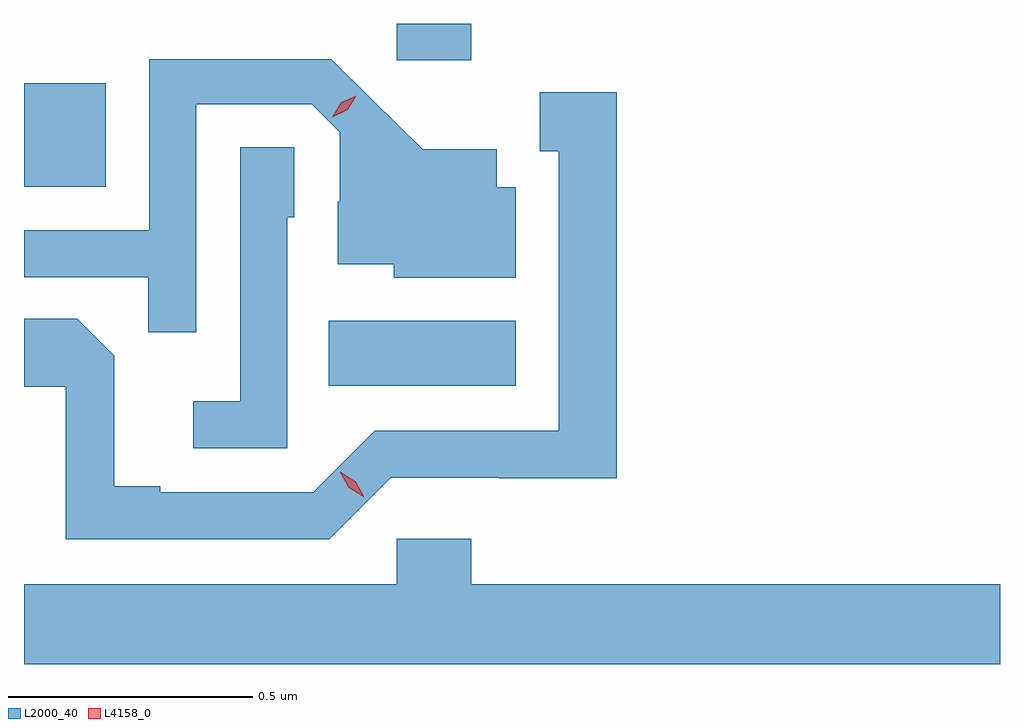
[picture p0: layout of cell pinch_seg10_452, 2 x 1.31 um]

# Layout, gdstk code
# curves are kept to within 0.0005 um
import gdstk
lib = gdstk.Library(unit=1e-6, precision=1e-09)
def R(c, l, rs):  # rectangles x0, y0, x1, y1
    for r in rs: c.add(gdstk.rectangle(r[:2], r[2:], *l))
def P(c, l, *ps):  # polygons
    for p in ps: c.add(gdstk.Polygon(p, *l))
L2000_40 = (2000, 40)
L4158_0 = (4158, 0)

pinch_seg10_452 = lib.new_cell('pinch_seg10_452')
R(pinch_seg10_452, L2000_40, [(366.028,1294.226,366.412,1294.36), (365.404,1294.634,365.572,1294.846), (366.168,1294.893,366.32,1294.968)])
P(pinch_seg10_452, L2000_40, [(365.757,1294.803),(365.994,1294.803),(366.051,1294.746),(366.051,1294.604),(366.047,1294.604),(366.047,1294.475),(366.162,1294.475),(366.162,1294.448),(366.412,1294.448),(366.412,1294.633),(366.373,1294.633),(366.373,1294.711),(366.221,1294.711),(366.034,1294.896),(365.661,1294.896),(365.661,1294.545),(365.404,1294.545),(365.404,1294.449),(365.659,1294.449),(365.659,1294.336),(365.757,1294.336)],
  [(366.156,1294.038),(366.378,1294.038),(366.378,1294.037),(366.619,1294.037),(366.619,1294.828),(366.461,1294.828),(366.461,1294.707),(366.5,1294.707),(366.5,1294.134),(366.123,1294.134),(365.997,1294.008),(365.683,1294.008),(365.683,1294.021),(365.589,1294.021),(365.589,1294.288),(365.513,1294.364),(365.404,1294.364),(365.404,1294.224),(365.49,1294.224),(365.49,1293.912),(366.03,1293.912)],
  [(365.943,1294.572),(365.958,1294.572),(365.958,1294.715),(365.847,1294.715),(365.847,1294.195),(365.751,1294.195),(365.751,1294.098),(365.943,1294.098)],
  [(367.404,1293.82),(366.32,1293.82),(366.32,1293.913),(366.168,1293.913),(366.168,1293.82),(365.404,1293.82),(365.404,1293.656),(367.404,1293.656)])
P(pinch_seg10_452, L4158_0, [(366.101,1293.998),(366.069,1294.017),(366.052,1294.049),(366.052,1294.05),(366.052,1294.05),(366.084,1294.03),(366.101,1293.998),(366.101,1293.998)],
  [(366.036,1294.777),(366.036,1294.777),(366.054,1294.807),(366.085,1294.821),(366.085,1294.821),(366.085,1294.821),(366.067,1294.792),(366.036,1294.777)])

lib.write_gds('pinch_seg10_452.gds')
